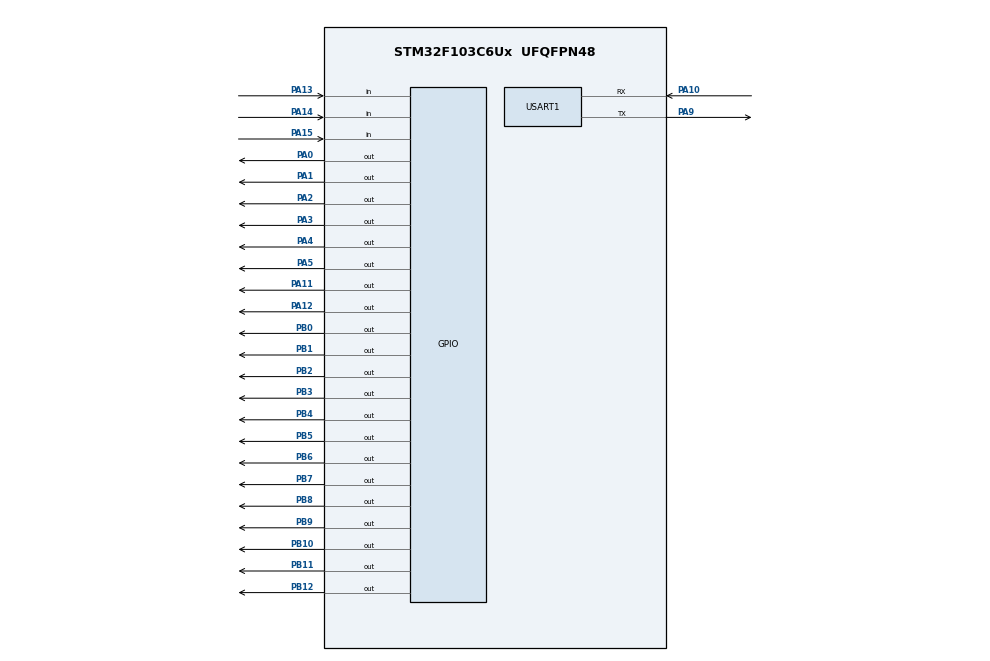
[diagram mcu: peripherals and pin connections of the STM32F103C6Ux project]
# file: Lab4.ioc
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Mcu.Family=STM32F1
Mcu.Name=STM32F103C6Ux
Mcu.Package=UFQFPN48
NVIC.PriorityGroup=NVIC_PRIORITYGROUP_4
NVIC.TIM2_IRQn=true\:0\:0\:false\:false\:true\:true\:true
PA0-WKUP.PinState=GPIO_PIN_SET
PA0-WKUP.Signal=GPIO_Output
PA1.PinState=GPIO_PIN_SET
PA1.Signal=GPIO_Output
PA10.Mode=Asynchronous
PA10.Signal=USART1_RX
PA11.PinState=GPIO_PIN_SET
PA11.Signal=GPIO_Output
PA12.PinState=GPIO_PIN_SET
PA12.Signal=GPIO_Output
PA13.GPIO_PuPd=GPIO_PULLUP
PA13.Signal=GPIO_Input
PA14.GPIO_PuPd=GPIO_PULLUP
PA14.Signal=GPIO_Input
PA15.GPIO_PuPd=GPIO_PULLUP
PA15.Signal=GPIO_Input
PA2.PinState=GPIO_PIN_SET
PA2.Signal=GPIO_Output
PA3.PinState=GPIO_PIN_SET
PA3.Signal=GPIO_Output
PA4.PinState=GPIO_PIN_SET
PA4.Signal=GPIO_Output
PA5.PinState=GPIO_PIN_SET
PA5.Signal=GPIO_Output
PA9.Mode=Asynchronous
PA9.Signal=USART1_TX
PB0.PinState=GPIO_PIN_SET
PB0.Signal=GPIO_Output
PB1.PinState=GPIO_PIN_SET
PB1.Signal=GPIO_Output
PB10.PinState=GPIO_PIN_RESET
PB10.Signal=GPIO_Output
PB11.PinState=GPIO_PIN_RESET
PB11.Signal=GPIO_Output
PB12.PinState=GPIO_PIN_RESET
PB12.Signal=GPIO_Output
PB2.PinState=GPIO_PIN_SET
PB2.Signal=GPIO_Output
PB3.PinState=GPIO_PIN_SET
PB3.Signal=GPIO_Output
PB4.PinState=GPIO_PIN_SET
PB4.Signal=GPIO_Output
PB5.PinState=GPIO_PIN_SET
PB5.Signal=GPIO_Output
PB6.PinState=GPIO_PIN_SET
PB6.Signal=GPIO_Output
PB7.PinState=GPIO_PIN_RESET
PB7.Signal=GPIO_Output
PB8.PinState=GPIO_PIN_RESET
PB8.Signal=GPIO_Output
PB9.PinState=GPIO_PIN_RESET
PB9.Signal=GPIO_Output
ProjectManager.HeapSize=0x200
ProjectManager.StackSize=0x400
ProjectManager.TargetToolchain=STM32CubeIDE
RCC.APB1Freq_Value=8000000
RCC.APB2Freq_Value=8000000
TIM2.Period=99
TIM2.Prescaler=7999
USART1.VirtualMode=VM_ASYNC
VP_IWDG_VS_IWDG.Mode=IWDG_Activate
VP_SYS_VS_ND.Mode=No_Debug
VP_TIM2_VS_ClockSourceINT.Mode=Internal
board=custom

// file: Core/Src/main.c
/* USER CODE BEGIN Header */
/**
  ******************************************************************************
  * @file           : main.c
  * @brief          : Main program body
  ******************************************************************************
  * @attention
  *
  * <h2><center>&copy; Copyright (c) 2025 STMicroelectronics.
  * All rights reserved.</center></h2>
  *
  * This software component is licensed by ST under BSD 3-Clause license,
  * the "License"; You may not use this file except in compliance with the
  * License. You may obtain a copy of the License at:
  *                        opensource.org/licenses/BSD-3-Clause
  *
  ******************************************************************************
  */
/* USER CODE END Header */
#include "main.h"

/* USER CODE BEGIN Includes */
#include "scheduler.h"
#include "input_reading.h"
#include "fsm.h"
#include "display.h"
#include "traffic.h"
#include "task.h"
/* USER CODE END Includes */

IWDG_HandleTypeDef hiwdg;

TIM_HandleTypeDef htim2;

UART_HandleTypeDef huart1;

void SystemClock_Config(void);
static void MX_TIM2_Init(void);
static void MX_GPIO_Init(void);
static void MX_IWDG_Init(void);
static void MX_USART1_UART_Init(void);

/* USER CODE BEGIN 0 */
void Task_ButtonAndFSM(void) {
    button_reading(10);
    fsm_traffic_run();
}

void Task_Update7Seg(void) {
    update7SEG(index_led);
    index_led = (index_led + 1) % 4;
}

void Countdown(void){
	if (counter_road1 > 0) counter_road1--;
	if (counter_road2 > 0) counter_road2--;
}

/* USER CODE END 0 */

int main(void)
{

  /* MCU Configuration--------------------------------------------------------*/

  /* Reset of all peripherals, Initializes the Flash interface and the Systick. */
  HAL_Init();

  /* Configure the system clock */
  SystemClock_Config();

  /* Initialize all configured peripherals */
  MX_TIM2_Init();
  MX_GPIO_Init();
  MX_IWDG_Init();
  MX_USART1_UART_Init();
  /* USER CODE BEGIN 2 */
  SCH_Init();
  SCH_Add_Task(Task_PrintTimestamp, 0, 1);
  SCH_Add_Task(Task1, 0, 50);   // 0.5 s
  SCH_Add_Task(Task2, 0, 100);  // 1.0 s
  SCH_Add_Task(Task3, 0, 150);  // 1.5 s
  SCH_Add_Task(Task4, 0, 200);  // 2.0 s
  SCH_Add_Task(Task5, 0, 250);  // 2.5 s
  SCH_Add_Task(LED_OneShot, 500, 0);
  HAL_TIM_Base_Start_IT(&htim2);
//  SCH_Add_Task(Task_ButtonAndFSM, 0, 1);
//  SCH_Add_Task(traffic_run,       0, 100);
//  SCH_Add_Task(Task_Update7Seg,   0, 25);
//  SCH_Add_Task(blink_leds_by_mode,0, 50);
//  SCH_Add_Task(Countdown,0, 100);
  /* USER CODE END 2 */

  /* Infinite loop */
  /* USER CODE BEGIN WHILE */
  while (1)
  {
	  SCH_Dispatch_Tasks();
    /* USER CODE END WHILE */

  }
}

void SystemClock_Config(void)
{
  RCC_OscInitTypeDef RCC_OscInitStruct = {0};
  RCC_ClkInitTypeDef RCC_ClkInitStruct = {0};

  /** Initializes the RCC Oscillators according to the specified parameters
  * in the RCC_OscInitTypeDef structure.
  */
  RCC_OscInitStruct.OscillatorType = RCC_OSCILLATORTYPE_HSI|RCC_OSCILLATORTYPE_LSI;
  RCC_OscInitStruct.HSIState = RCC_HSI_ON;
  RCC_OscInitStruct.HSICalibrationValue = RCC_HSICALIBRATION_DEFAULT;
  RCC_OscInitStruct.LSIState = RCC_LSI_ON;
  RCC_OscInitStruct.PLL.PLLState = RCC_PLL_NONE;
  if (HAL_RCC_OscConfig(&RCC_OscInitStruct) != HAL_OK)
  {
    Error_Handler();
  }
  /** Initializes the CPU, AHB and APB buses clocks
  */
  RCC_ClkInitStruct.ClockType = RCC_CLOCKTYPE_HCLK|RCC_CLOCKTYPE_SYSCLK
                              |RCC_CLOCKTYPE_PCLK1|RCC_CLOCKTYPE_PCLK2;
  RCC_ClkInitStruct.SYSCLKSource = RCC_SYSCLKSOURCE_HSI;
  RCC_ClkInitStruct.AHBCLKDivider = RCC_SYSCLK_DIV1;
  RCC_ClkInitStruct.APB1CLKDivider = RCC_HCLK_DIV1;
  RCC_ClkInitStruct.APB2CLKDivider = RCC_HCLK_DIV1;

  if (HAL_RCC_ClockConfig(&RCC_ClkInitStruct, FLASH_LATENCY_0) != HAL_OK)
  {
    Error_Handler();
  }
}

static void MX_IWDG_Init(void)
{

  hiwdg.Instance = IWDG;
  hiwdg.Init.Prescaler = IWDG_PRESCALER_4;
  hiwdg.Init.Reload = 4095;
  if (HAL_IWDG_Init(&hiwdg) != HAL_OK)
  {
    Error_Handler();
  }

}

static void MX_TIM2_Init(void)
{

  TIM_ClockConfigTypeDef sClockSourceConfig = {0};
  TIM_MasterConfigTypeDef sMasterConfig = {0};

  htim2.Instance = TIM2;
  htim2.Init.Prescaler = 7999;
  htim2.Init.CounterMode = TIM_COUNTERMODE_UP;
  htim2.Init.Period = 99;
  htim2.Init.ClockDivision = TIM_CLOCKDIVISION_DIV1;
  htim2.Init.AutoReloadPreload = TIM_AUTORELOAD_PRELOAD_DISABLE;
  if (HAL_TIM_Base_Init(&htim2) != HAL_OK)
  {
    Error_Handler();
  }
  sClockSourceConfig.ClockSource = TIM_CLOCKSOURCE_INTERNAL;
  if (HAL_TIM_ConfigClockSource(&htim2, &sClockSourceConfig) != HAL_OK)
  {
    Error_Handler();
  }
  sMasterConfig.MasterOutputTrigger = TIM_TRGO_RESET;
  sMasterConfig.MasterSlaveMode = TIM_MASTERSLAVEMODE_DISABLE;
  if (HAL_TIMEx_MasterConfigSynchronization(&htim2, &sMasterConfig) != HAL_OK)
  {
    Error_Handler();
  }

}

static void MX_USART1_UART_Init(void)
{

  huart1.Instance = USART1;
  huart1.Init.BaudRate = 115200;
  huart1.Init.WordLength = UART_WORDLENGTH_8B;
  huart1.Init.StopBits = UART_STOPBITS_1;
  huart1.Init.Parity = UART_PARITY_NONE;
  huart1.Init.Mode = UART_MODE_TX_RX;
  huart1.Init.HwFlowCtl = UART_HWCONTROL_NONE;
  huart1.Init.OverSampling = UART_OVERSAMPLING_16;
  if (HAL_UART_Init(&huart1) != HAL_OK)
  {
    Error_Handler();
  }

}

static void MX_GPIO_Init(void)
{
  GPIO_InitTypeDef GPIO_InitStruct = {0};

  /* GPIO Ports Clock Enable */
  __HAL_RCC_GPIOA_CLK_ENABLE();
  __HAL_RCC_GPIOB_CLK_ENABLE();

  /*Configure GPIO pin Output Level */
  HAL_GPIO_WritePin(GPIOA, GPIO_PIN_0|GPIO_PIN_1|GPIO_PIN_2|GPIO_PIN_3
                          |GPIO_PIN_4|GPIO_PIN_5|GPIO_PIN_11|GPIO_PIN_12, GPIO_PIN_SET);

  /*Configure GPIO pin Output Level */
  HAL_GPIO_WritePin(GPIOB, GPIO_PIN_0|GPIO_PIN_1|GPIO_PIN_2|GPIO_PIN_3
                          |GPIO_PIN_4|GPIO_PIN_5|GPIO_PIN_6, GPIO_PIN_SET);

  /*Configure GPIO pin Output Level */
  HAL_GPIO_WritePin(GPIOB, GPIO_PIN_10|GPIO_PIN_11|GPIO_PIN_12|GPIO_PIN_7
                          |GPIO_PIN_8|GPIO_PIN_9, GPIO_PIN_RESET);

  /*Configure GPIO pins : PA0 PA1 PA2 PA3
                           PA4 PA5 PA11 PA12 */
  GPIO_InitStruct.Pin = GPIO_PIN_0|GPIO_PIN_1|GPIO_PIN_2|GPIO_PIN_3
                          |GPIO_PIN_4|GPIO_PIN_5|GPIO_PIN_11|GPIO_PIN_12;
  GPIO_InitStruct.Mode = GPIO_MODE_OUTPUT_PP;
  GPIO_InitStruct.Pull = GPIO_NOPULL;
  GPIO_InitStruct.Speed = GPIO_SPEED_FREQ_LOW;
  HAL_GPIO_Init(GPIOA, &GPIO_InitStruct);

  /*Configure GPIO pins : PB0 PB1 PB2 PB10
                           PB11 PB12 PB3 PB4
                           PB5 PB6 PB7 PB8
                           PB9 */
  GPIO_InitStruct.Pin = GPIO_PIN_0|GPIO_PIN_1|GPIO_PIN_2|GPIO_PIN_10
                          |GPIO_PIN_11|GPIO_PIN_12|GPIO_PIN_3|GPIO_PIN_4
                          |GPIO_PIN_5|GPIO_PIN_6|GPIO_PIN_7|GPIO_PIN_8
                          |GPIO_PIN_9;
  GPIO_InitStruct.Mode = GPIO_MODE_OUTPUT_PP;
  GPIO_InitStruct.Pull = GPIO_NOPULL;
  GPIO_InitStruct.Speed = GPIO_SPEED_FREQ_LOW;
  HAL_GPIO_Init(GPIOB, &GPIO_InitStruct);

  /*Configure GPIO pins : PA13 PA14 PA15 */
  GPIO_InitStruct.Pin = GPIO_PIN_13|GPIO_PIN_14|GPIO_PIN_15;
  GPIO_InitStruct.Mode = GPIO_MODE_INPUT;
  GPIO_InitStruct.Pull = GPIO_PULLUP;
  HAL_GPIO_Init(GPIOA, &GPIO_InitStruct);

}

void Error_Handler(void)
{
  __disable_irq();
  while (1)
  {
  }
}

/************************ (C) COPYRIGHT STMicroelectronics *****END OF FILE****/
